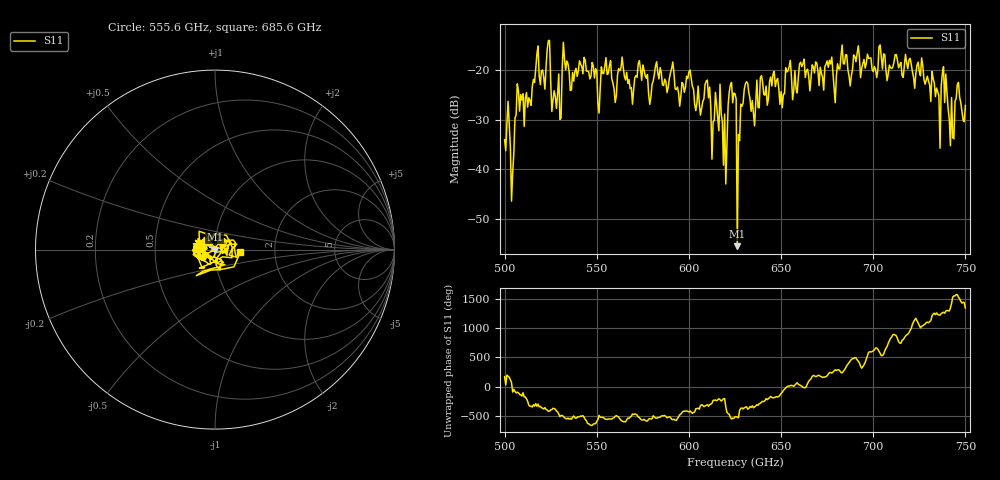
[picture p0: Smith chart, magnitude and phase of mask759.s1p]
!Created with skrf (http://scikit-rf.org).
# GHz S MA R 50.0
!freq magS11 angS11
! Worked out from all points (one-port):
!   401 points, 500 GHz to 750 GHz, reference 50 ohm
!   lowest |S11| = -55.5 dB at 626.2 GHz (marker M1), VSWR 1.00, Z = 49.8 - j0.0498 ohm
!   |S11| at or under -10 dB: start of sweep to end of sweep
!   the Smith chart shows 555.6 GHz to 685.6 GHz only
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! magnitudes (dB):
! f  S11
! 500 GHz  -34.0
! 504.4 GHz  -40.7
! 507.5 GHz  -24.2
! 513.8 GHz  -26.1
! 516.9 GHz  -19.8
! 523.8 GHz  -14.0
! 526.9 GHz  -24.2
! 531.2 GHz  -19.7
! 533.1 GHz  -20.0
! 550.6 GHz  -26.9
! 562.5 GHz  -20.1
! 593.8 GHz  -23.4
! 610 GHz  -22.0
! 619.4 GHz  -28.9
! 623.8 GHz  -26.6
! 625 GHz  -24.8
! 626.2 GHz  -55.5
! 631.2 GHz  -22.4
! 635 GHz  -28.7
! 656.2 GHz  -26.0
! 687.5 GHz  -23.2
! 690.6 GHz  -18.3
! 718.8 GHz  -19.7
! 735 GHz  -24.4
! 738.8 GHz  -26.6
! 742.5 GHz  -25.5
! 745.6 GHz  -22.9
! 750 GHz  -27.1
